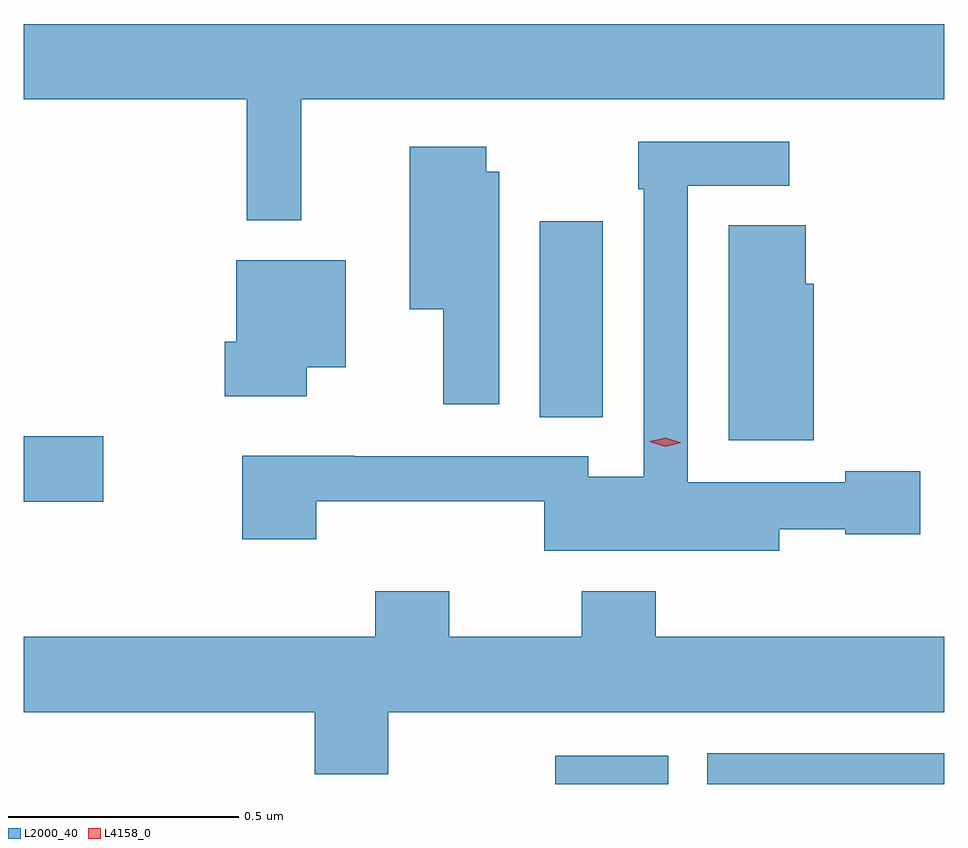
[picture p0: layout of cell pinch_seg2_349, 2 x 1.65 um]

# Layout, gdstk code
import gdstk
lib = gdstk.Library(unit=1e-6, precision=1e-09)
def R(c, l, rs):  # rectangles x0, y0, x1, y1
    for r in rs: c.add(gdstk.rectangle(r[:2], r[2:], *l))
def P(c, l, *ps):  # polygons
    for p in ps: c.add(gdstk.Polygon(p, *l))
L2000_40 = (2000, 40)
L4158_0 = (4158, 0)

pinch_seg2_349 = lib.new_cell('pinch_seg2_349')
R(pinch_seg2_349, L2000_40, [(983.454,640.82,983.699,640.881), (983.784,640.82,984.299,640.887), (982.299,641.434,982.471,641.576), (983.42,641.617,983.557,642.043)])
P(pinch_seg2_349, L2000_40, [(982.902,642.308),(984.299,642.308),(984.299,642.472),(982.299,642.472),(982.299,642.308),(982.783,642.308),(982.783,642.045),(982.902,642.045)],
  [(983.941,641.374),(984.084,641.374),(984.084,641.363),(984.247,641.363),(984.247,641.5),(984.084,641.5),(984.084,641.476),(983.742,641.476),(983.742,642.12),(983.962,642.12),(983.962,642.216),(983.634,642.216),(983.634,642.113),(983.646,642.113),(983.646,641.488),(983.526,641.488),(983.526,641.532),(983.017,641.532),(983.017,641.533),(982.774,641.533),(982.774,641.352),(982.934,641.352),(982.934,641.435),(983.43,641.435),(983.43,641.327),(983.941,641.327)],
  [(983.332,642.151),(983.304,642.151),(983.304,642.205),(983.138,642.205),(983.138,641.852),(983.21,641.852),(983.21,641.646),(983.332,641.646)],
  [(984.016,641.907),(983.998,641.907),(983.998,642.035),(983.831,642.035),(983.831,641.567),(984.016,641.567)],
  [(982.914,641.726),(982.999,641.726),(982.999,641.959),(982.76,641.959),(982.76,641.781),(982.736,641.781),(982.736,641.663),(982.914,641.663)],
  [(983.091,640.976),(984.299,640.976),(984.299,641.14),(983.672,641.14),(983.672,641.239),(983.512,641.239),(983.512,641.14),(983.223,641.14),(983.223,641.239),(983.063,641.239),(983.063,641.14),(982.299,641.14),(982.299,640.976),(982.931,640.976),(982.931,640.841),(983.091,640.841)])
P(pinch_seg2_349, L4158_0, [(983.693,641.553),(983.659,641.564),(983.659,641.564),(983.659,641.565),(983.694,641.573),(983.728,641.562),(983.728,641.562),(983.728,641.562)])

lib.write_gds('pinch_seg2_349.gds')
